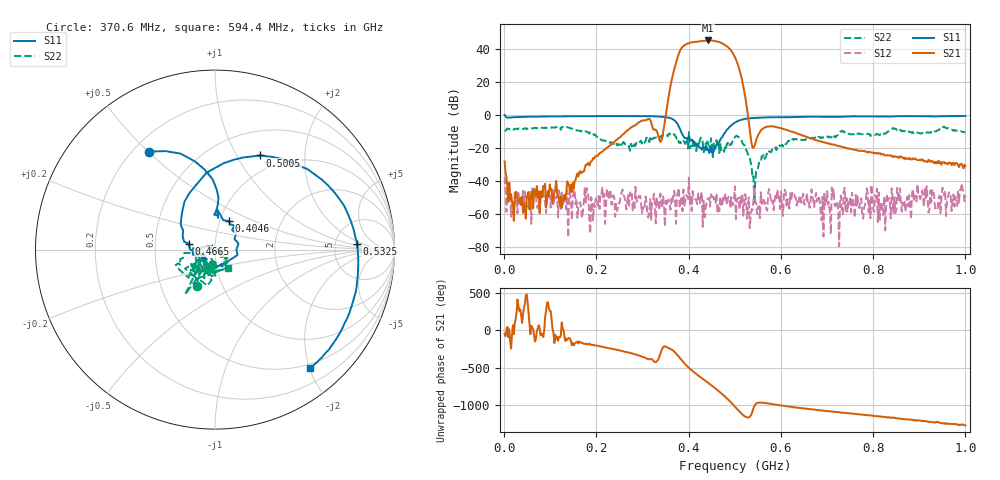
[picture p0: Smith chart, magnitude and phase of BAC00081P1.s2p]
!measured: 2026-10-27T15:20:18
!cal_instance: BBtestOct27
!cal_created: 2026-10-27T14:45
!cal_file: BBtesting.cal
!port1_delay_ps: -58.63
!port2_delay_ps: -59.31
!host: dhcp-10-250-247-203.harvard.edu
! Created with skrf 2.1.0 (http://scikit-rf.org).
# Hz S RI R 50.0
!freq ReS11 ImS11 ReS21 ImS21 ReS12 ImS12 ReS22 ImS22
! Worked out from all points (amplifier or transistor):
!   501 points, 1 MHz to 1 GHz, reference 50 ohm
!   highest |S21| = 45.2 dB at 442.6 MHz (marker M1)
!   |S21| within 3 dB of that: 390.5 MHz to 480.4 MHz (89.9 MHz wide, 20.6 % of centre)
!   unconditionally stable (mu >= 1): start of sweep to 399.7 MHz; 401.3 MHz to 500.3 MHz; 500.6 MHz to end of sweep
!   at 166.8 MHz: K = 3146.83, MAG = -27.5 dB, |S12| = -56.3 dB
!   at 500.5 MHz: K = 0.91, MSG = 39.2 dB, |S12| = -43.4 dB
!   at 1 GHz: K = 700.59, MAG = -22.5 dB, |S12| = -48.9 dB
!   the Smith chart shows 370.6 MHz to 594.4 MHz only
!   S11 on the Smith chart (normalised r, x): 370.6 MHz: 0.26, +0.50; 404.6 MHz: 1.10, +0.36; 466.5 MHz: 0.74, +0.05; 500.5 MHz: 0.79, +1.26; 532.5 MHz: 8.36, +1.49; 594.4 MHz: 0.43, -2.01
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1000000  -0.3986 0.9038  0.0259 -0.0283  -0.0111 0.00702  0.3246 -0.00851
1.68832e8  0.5028 -0.7572  -0.0173 -0.00531  -0.000709 0.000186  -0.0379 -0.3306
3.34666e8  -0.8394 -0.3154  0.205 -0.0697  -0.0012 -0.00203  0.0296 -0.2125
3.7063e8  -0.3657 0.5461  11.51 27.99  -0.000375 -0.00251  -0.1021 -0.2024
3.84616e8  0.0192 0.2899  89.51 -59.28  -0.00119 -0.00313  -0.1133 -0.1236
3.94606e8  -0.00341 0.1943  -32.37 -135.9  0.00364 -0.000675  -0.1102 -0.1528
4.04596e8  0.0772 0.1592  -149.5 -51.35  -0.000928 -0.00339  -0.1019 -0.0587
4.12588e8  0.1166 0.0913  -151.8 61.45  0.00249 0.00121  -0.0902 -0.0673
4.24576e8  0.0802 -0.0588  -36.13 168.4  -0.00169 -0.00123  -0.02 -0.1708
4.32568e8  0.0266 -0.0862  72.37 161.3  -0.00169 0.00176  -0.0273 -0.0682
4.42558e8  -0.0633 -0.058  170.7 63.45  -0.000659 -0.0027  -0.0891 -0.1022
4.52548e8  -0.0672 -0.0151  160.2 -80.71  -0.00139 -0.00353  -0.0243 -0.0461
4.66534e8  -0.1458 0.0337  -17.43 -161.4  0.000756 -0.000929  0.0014 -0.0694
4.8052e8  -0.17 0.2672  -127 -19.74  -0.00404 0.000445  -0.0356 -0.0791
4.9051e8  0.00267 0.4561  -59.15 74.03  0.000544 -0.00154  -0.0633 -0.1142
5.005e8  0.2523 0.5246  25.18 49.97  -0.00637 -0.00224  -0.1474 -0.1569
5.12488e8  0.5538 0.4202  17.1 -5.273  -0.000353 0.00322  -0.1782 -0.0462
5.32468e8  0.7917 0.0331  0.1139 -0.3418  0.000187 -0.000316  -0.0517 0.00902
5.94406e8  0.5293 -0.6603  0.0387 0.4084  0.00267 0.000286  0.0716 -0.1014
6.68332e8  0.0923 -0.8738  0.1648 0.0846  0.00182 -0.00261  0.0156 -0.1948
8.34166e8  -0.5708 -0.6854  0.0095 -0.0577  0.00132 0.00268  -0.1976 -0.2485
1e9  -0.8784 -0.2723  -0.0279 0.00339  0.00346 0.000917  -0.2493 -0.164
